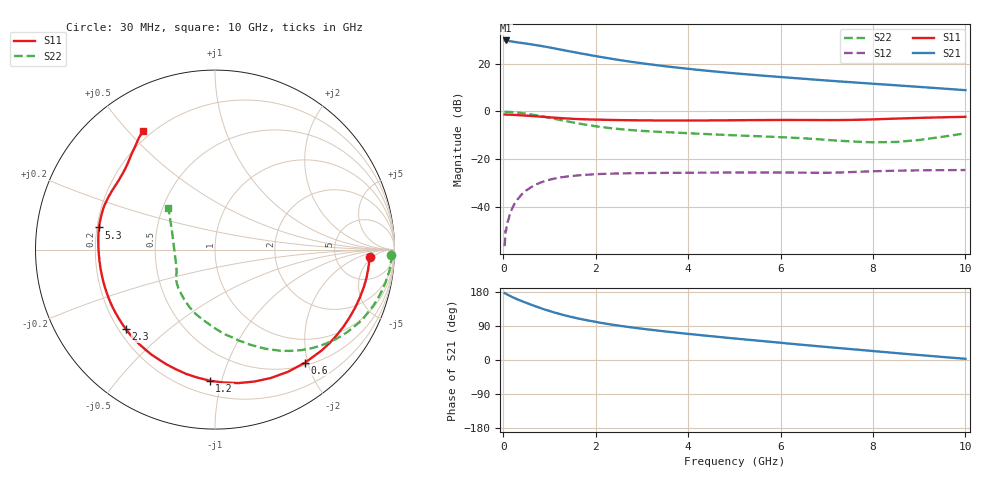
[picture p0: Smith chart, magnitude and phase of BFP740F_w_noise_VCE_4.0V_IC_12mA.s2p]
! (c) 2012  Infineon Technologies AG, Munich
! Infineon Technologies  Discrete & RF Semiconductors
! BFP740F
! VCE =  4.0 V,  IC =  12 mA
! Common Emitter S-Parameters:  Oct 2012
# GHz  S  MA  R  50
!  f  S11  S21  S12  S22
! GHz  MAG  ANG  MAG  ANG  MAG  ANG  MAG  ANG
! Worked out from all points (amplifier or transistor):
!   99 points, 30 MHz to 10 GHz, reference 50 ohm
!   highest |S21| = 29.8 dB at 50 MHz (marker M1)
!   |S21| within 3 dB of that: start of sweep to 1.016 GHz
!   unconditionally stable (mu >= 1): 6.452 GHz to end of sweep
!   at 350 MHz: K = 0.13, MSG = 32.4 dB, |S12| = -36.0 dB
!   at 3.5 GHz: K = 0.54, MSG = 22.4 dB, |S12| = -25.7 dB
!   at 10 GHz: K = 1.25, MAG = 13.7 dB, |S12| = -24.6 dB
!   lowest NFmin = 0.48 dB at 450 MHz
!   S11 on the Smith chart (normalised r, x): 30 MHz: 12, -4; 600 MHz: 0.55, -1.96; 1.2 GHz: 0.29, -0.92; 2.3 GHz: 0.23, -0.36; 5.3 GHz: 0.21, +0.09; 10 GHz: 0.17, +0.55
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0.03  0.8627 -2.7  30.64 176.5  0.0015 69.3  0.9829 -1.6
0.05  0.8617 -4.5  30.79 175.4  0.0032 73.0  0.9843 -2.8
0.15  0.8557 -13.7  29.65 168.8  0.0074 80.6  0.9733 -8.8
0.3  0.8396 -26.8  28.16 160.5  0.014 73.2  0.9461 -17.0
0.45  0.8239 -39.4  26.83 153.1  0.0202 67.9  0.9115 -24.7
0.6  0.8054 -51.4  25.55 146.1  0.0257 61.6  0.8677 -32.1
0.8  0.78 -66.6  23.82 137.3  0.0321 54.4  0.8043 -41.1
0.9  0.767 -73.5  22.91 133.2  0.0347 51.2  0.7701 -45.5
1.1  0.742 -86.5  21.07 125.6  0.039 45.0  0.7037 -53.3
1.2  0.7309 -92.3  20.15 122.2  0.0409 42.4  0.6738 -56.8
1.4  0.7109 -103.1  18.49 115.8  0.0436 37.8  0.6169 -63.4
1.7  0.6876 -117.1  16.32 107.6  0.0464 32.2  0.5447 -72.1
2  0.675 -128.7  14.5 100.6  0.0483 27.9  0.4905 -80.3
2.3  0.6655 -138.4  12.93 94.3  0.0495 24.0  0.4496 -87.8
2.8  0.6543 -151.0  10.9 85.7  0.0509 19.9  0.4047 -97.6
3.4  0.6475 -163.0  9.135 76.8  0.0515 16.4  0.373 -107.0
4.2  0.6466 -175.8  7.485 66.5  0.052 13.3  0.3424 -116.2
5.1  0.656 171.7  6.195 55.7  0.0526 11.1  0.3135 -126.2
5.3  0.6577 169.2  5.967 53.4  0.0526 10.7  0.3079 -128.4
6.7  0.6608 151.6  4.682 37.6  0.0519 9.6  0.2662 -144.3
8.5  0.7084 130.8  3.536 18.3  0.0573 10.3  0.2294 176.4
10  0.772 121.1  2.797 3.2  0.0592 7.3  0.348 138.2
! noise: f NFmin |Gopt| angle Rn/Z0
0.45  0.48  0.16  5  0.24
0.9  0.53  0.17  13  0.13
1.5  0.6  0.18  23  0.06
1.9  0.64  0.17  33  0.05
2.4  0.69  0.17  47  0.05
3.5  0.8  0.14  69  0.13
5.5  0.99  0.09  140  0.21
10  1.39  0.38  -115  0.11
